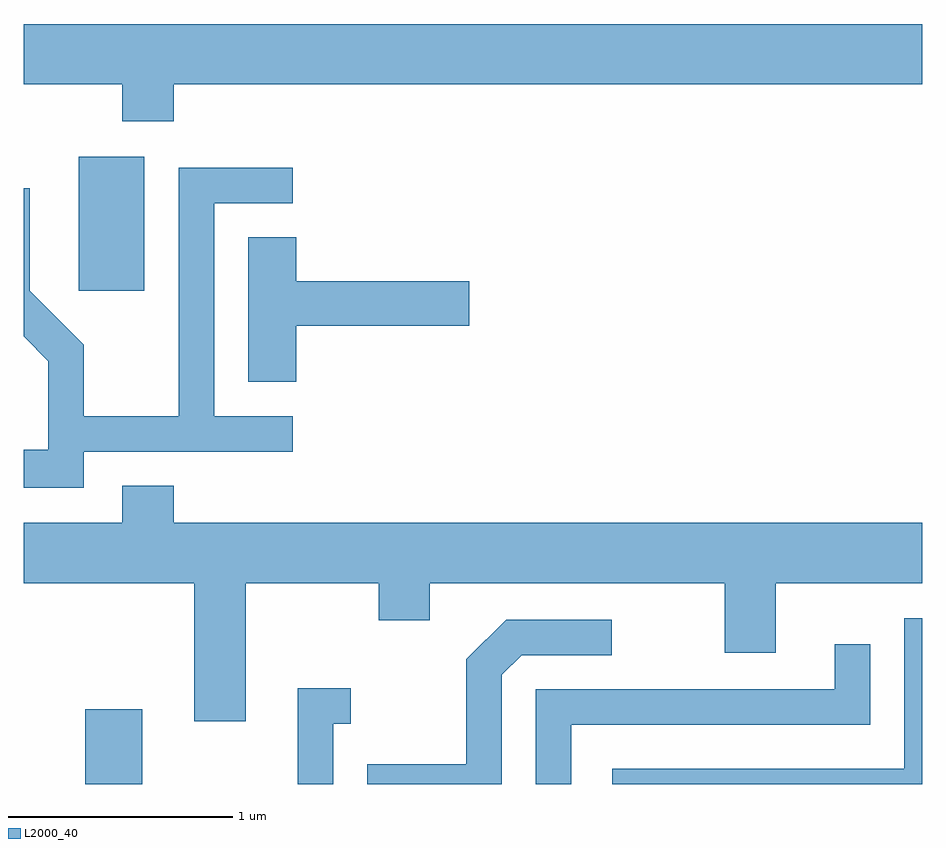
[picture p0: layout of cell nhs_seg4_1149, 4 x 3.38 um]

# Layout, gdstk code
import gdstk
lib = gdstk.Library(unit=1e-6, precision=1e-09)
def R(c, l, rs):  # rectangles x0, y0, x1, y1
    for r in rs: c.add(gdstk.rectangle(r[:2], r[2:], *l))
def P(c, l, *ps):  # polygons
    for p in ps: c.add(gdstk.Polygon(p, *l))
L2000_40 = (2000, 40)

nhs_seg4_1149 = lib.new_cell('nhs_seg4_1149')
R(nhs_seg4_1149, L2000_40, [(217.886,1375.982,218.139,1376.314), (217.856,1378.176,218.149,1378.774)])
P(nhs_seg4_1149, L2000_40, [(218.279,1379.096),(221.611,1379.096),(221.611,1379.364),(217.611,1379.364),(217.611,1379.096),(218.051,1379.096),(218.051,1378.931),(218.279,1378.931)],
  [(217.879,1377.461),(218.808,1377.461),(218.808,1377.619),(218.459,1377.619),(218.459,1378.566),(218.808,1378.566),(218.808,1378.724),(218.301,1378.724),(218.301,1377.619),(217.879,1377.619),(217.879,1377.937),(217.639,1378.177),(217.639,1378.633),(217.611,1378.633),(217.611,1377.974),(217.721,1377.864),(217.721,1377.469),(217.611,1377.469),(217.611,1377.301),(217.879,1377.301)],
  [(218.824,1378.021),(219.594,1378.021),(219.594,1378.219),(218.824,1378.219),(218.824,1378.414),(218.611,1378.414),(218.611,1377.771),(218.824,1377.771)],
  [(218.599,1376.876),(219.191,1376.876),(219.191,1376.711),(219.419,1376.711),(219.419,1376.876),(220.731,1376.876),(220.731,1376.566),(220.959,1376.566),(220.959,1376.876),(221.611,1376.876),(221.611,1377.144),(218.279,1377.144),(218.279,1377.309),(218.051,1377.309),(218.051,1377.144),(217.611,1377.144),(217.611,1376.876),(218.371,1376.876),(218.371,1376.261),(218.599,1376.261)],
  [(221.611,1376.719),(221.531,1376.719),(221.531,1376.049),(220.231,1376.049),(220.231,1375.982),(221.611,1375.982)],
  [(219.739,1376.469),(219.827,1376.556),(220.228,1376.556),(220.228,1376.714),(219.759,1376.714),(219.581,1376.537),(219.581,1376.069),(219.141,1376.069),(219.141,1375.982),(219.739,1375.982)],
  [(220.049,1376.246),(221.379,1376.246),(221.379,1376.603),(221.221,1376.603),(221.221,1376.404),(219.891,1376.404),(219.891,1375.982),(220.049,1375.982)],
  [(218.989,1376.251),(219.068,1376.251),(219.068,1376.409),(218.831,1376.409),(218.831,1375.982),(218.989,1375.982)])

lib.write_gds('nhs_seg4_1149.gds')
